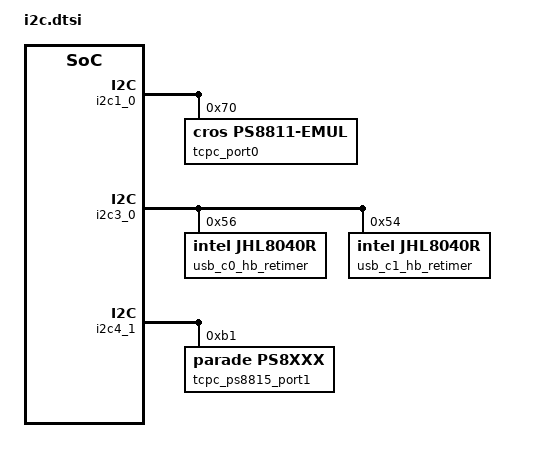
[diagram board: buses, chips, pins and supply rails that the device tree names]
/* Copyright 2023 The ChromiumOS Authors
 * Use of this source code is governed by a BSD-style license that can be
 * found in the LICENSE file.
 */

#include "../native_posix.overlay"
#include "../../../../program/rex/screebo/cbi.dtsi"

/ {
	/* Unused Stub */
	named-i2c-ports {
		compatible = "named-i2c-ports";

		named_i2c0: i2c0 {
			i2c-port = <&i2c0>;
			enum-names = "I2C_PORT_USB_MUX";
		};
	};
};

&i2c1_0 {
	status = "okay";

	/*
	 * Use the PS8811 retimer as a place-holder for the
	 * NCT3807 TCPC for now.
	 */
	 tcpc_port0: ps8811_emul@70 {
		compatible = "cros,ps8811-emul";
		reg = <0x70>;
	};
};

&i2c3_0 {
	status = "okay";

	usb_c0_hb_retimer: jhl9040r-c0@56 {
		compatible = "intel,jhl8040r";
		reg = <0x56>;
		reset-pin = <&gpio_usb_c1_rst_odl>;
	};
	usb_c1_hb_retimer: jhl9040r-c1@54 {
		compatible = "intel,jhl8040r";
		reg = <0x54>;
		reset-pin = <&gpio_usb_c1_rst_odl>;
	};
};

&i2c4_1 {
	status = "okay";

	tcpc_ps8815_port1: ps8xxx@b1 {
		compatible = "parade,ps8xxx", "cros,i2c-mock";
		reg = <0xb1>;
	};
};

